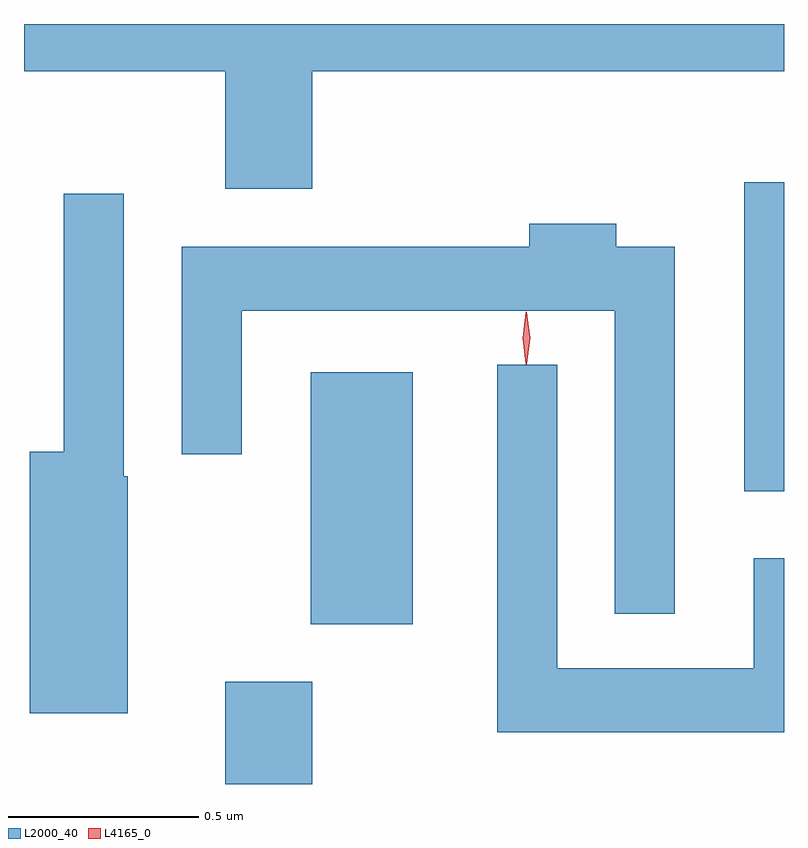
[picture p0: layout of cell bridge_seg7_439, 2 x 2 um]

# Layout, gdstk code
import gdstk
lib = gdstk.Library(unit=1e-6, precision=1e-09)
def R(c, l, rs):  # rectangles x0, y0, x1, y1
    for r in rs: c.add(gdstk.rectangle(r[:2], r[2:], *l))
def P(c, l, *ps):  # polygons
    for p in ps: c.add(gdstk.Polygon(p, *l))
L2000_40 = (2000, 40)
L4165_0 = (4165, 0)

bridge_seg7_439 = lib.new_cell('bridge_seg7_439')
R(bridge_seg7_439, L2000_40, [(1084.171,1688.02,1084.399,1688.289), (1084.396,1688.441,1084.664,1689.104), (1085.536,1688.791,1085.641,1689.604)])
P(bridge_seg7_439, L2000_40, [(1084.399,1689.896),(1085.641,1689.896),(1085.641,1690.02),(1083.641,1690.02),(1083.641,1689.896),(1084.171,1689.896),(1084.171,1689.586),(1084.399,1689.586)],
  [(1083.914,1688.83),(1083.904,1688.83),(1083.904,1689.573),(1083.746,1689.573),(1083.746,1688.894),(1083.656,1688.894),(1083.656,1688.206),(1083.914,1688.206)],
  [(1085.354,1689.434),(1085.199,1689.434),(1085.199,1689.494),(1084.971,1689.494),(1084.971,1689.434),(1084.056,1689.434),(1084.056,1688.888),(1084.214,1688.888),(1084.214,1689.266),(1085.196,1689.266),(1085.196,1688.468),(1085.354,1688.468)],
  [(1085.641,1688.614),(1085.561,1688.614),(1085.561,1688.324),(1085.044,1688.324),(1085.044,1689.123),(1084.886,1689.123),(1084.886,1688.156),(1085.641,1688.156)])
P(bridge_seg7_439, L4165_0, [(1084.963,1689.127),(1084.954,1689.194),(1084.963,1689.26),(1084.963,1689.26),(1084.964,1689.26),(1084.973,1689.194),(1084.964,1689.127),(1084.964,1689.127)],
  [(1084.963,1689.123),(1084.962,1689.124),(1084.953,1689.193),(1084.962,1689.262),(1084.963,1689.263),(1084.964,1689.262),(1084.973,1689.193),(1084.964,1689.124)])

lib.write_gds('bridge_seg7_439.gds')
